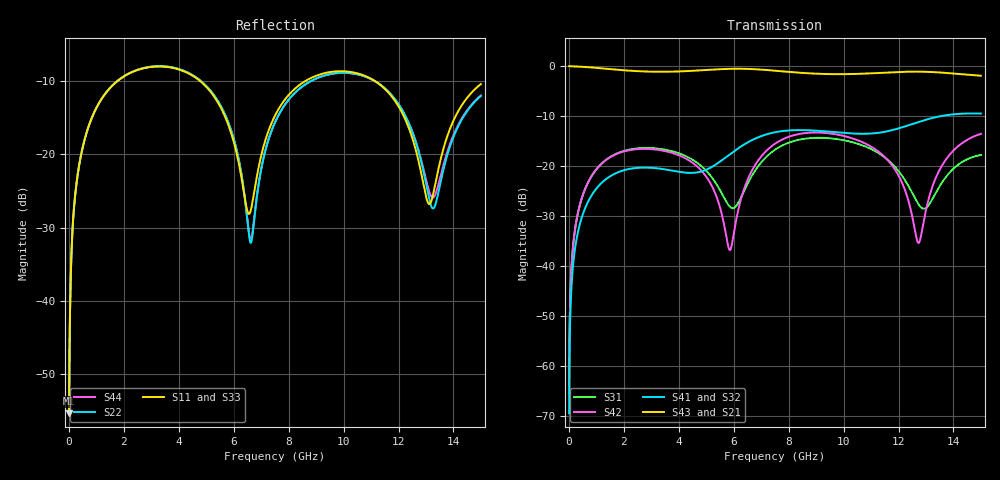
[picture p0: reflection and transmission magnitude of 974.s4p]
! Created with skrf 1.8.0 (http://scikit-rf.org).
# GHz S RI R 50.0
!freq ReS11 ImS11 ReS12 ImS12 ReS13 ImS13
! ReS14 ImS14
! ReS21 ImS21 ReS22 ImS22 ReS23 ImS23
! ReS24 ImS24
! ReS31 ImS31 ReS32 ImS32 ReS33 ImS33
! ReS34 ImS34
! ReS41 ImS41 ReS42 ImS42 ReS43 ImS43
! ReS44 ImS44
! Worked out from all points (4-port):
!   2499 points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, 5 MHz to 15 GHz, reference 50 ohm
!   strongest paths, dB at 5 MHz, 3.476 GHz, 7.19 GHz, 11.1 GHz, 15 GHz:
!     S43: 0.0, -1.1, -0.8, -1.4, -1.9
!     S21: 0.0, -1.1, -0.8, -1.4, -1.9
!     S41: -69.4, -20.6, -13.6, -13.4, -9.5
!     S32: -69.4, -20.7, -13.7, -13.5, -9.5
!     S42: -65.5, -17.0, -16.9, -16.4, -13.5
!     S31: -65.5, -16.7, -18.1, -16.8, -17.8
!   lowest |S11| = -55.3 dB at 5 MHz (marker M1), VSWR 1.00, Z = 50.1 + j0.104 ohm
!   |S11| at or under -10 dB: start of sweep to 1.779 GHz; 4.761 GHz to 8.626 GHz (3.865 GHz wide, 57.7 % of centre); 11.12 GHz to end of sweep
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0.005  0.00137 0.00104  0.9986 -0.00266  6.74e-05 0.000526  -6.55e-05 -0.000332
       0.9986 -0.00266  0.00137 0.00104  -6.55e-05 -0.000332  6.73e-05 0.000526
       6.74e-05 0.000526  -6.55e-05 -0.000332  0.00137 0.00104  0.9986 -0.00266
       -6.55e-05 -0.000332  6.73e-05 0.000526  0.9986 -0.00266  0.00137 0.00104
0.3626511  0.0221 0.0795  0.9697 -0.192  0.0102 0.0363  -0.00834 -0.0227
           0.9697 -0.192  0.0221 0.0795  -0.00833 -0.0227  0.00983 0.0364
           0.0102 0.0363  -0.00833 -0.0227  0.0221 0.0795  0.9697 -0.192
           -0.00834 -0.0227  0.00983 0.0364  0.9697 -0.192  0.0221 0.0795
1.67  0.2369 0.1905  0.6179 -0.6875  0.114 0.0648  -0.0823 -0.0169
      0.6179 -0.6875  0.2382 0.1898  -0.0822 -0.0171  0.1097 0.0697
      0.114 0.0648  -0.0822 -0.0171  0.2369 0.1904  0.6179 -0.6875
      -0.0823 -0.0169  0.1097 0.0697  0.6179 -0.6875  0.2381 0.1898
6.596499  0.0397 0.00546  -0.9348 -0.046  -0.0242 0.0705  -0.00265 0.178
          -0.9348 -0.046  0.0246 -0.00612  -0.00538 0.178  0.0338 0.076
          -0.0242 0.0705  -0.00538 0.178  0.0381 0.00632  -0.9349 -0.046
          -0.00265 0.178  0.0338 0.076  -0.9349 -0.046  0.0259 -0.00553
10.66694  0.3302 -0.1084  0.1726 0.8214  0.1286 -0.0988  0.1814 -0.107
          0.1726 0.8214  0.3309 -0.0935  0.1825 -0.1011  0.1334 -0.1124
          0.1286 -0.0988  0.1825 -0.1011  0.3307 -0.1109  0.172 0.8214
          0.1814 -0.107  0.1334 -0.1124  0.172 0.8214  0.3309 -0.0904
12.7303  0.0586 -0.068  0.8178 0.3254  -0.0375 -0.0178  0.0889 -0.262
         0.8178 0.3254  0.0627 -0.0835  0.0984 -0.2585  0.0165 -0.00417
         -0.0375 -0.0178  0.0984 -0.2585  0.0511 -0.0699  0.8175 0.3262
         0.0889 -0.262  0.0165 -0.00417  0.8175 0.3262  0.0694 -0.0803
15  0.2563 0.1562  0.6065 -0.5247  0.1186 0.0512  -0.2581 -0.2138
    0.6065 -0.5247  0.203 0.1445  -0.2502 -0.2228  0.2093 -0.0224
    0.1186 0.0512  -0.2502 -0.2228  0.252 0.1653  0.6068 -0.5235
    -0.2581 -0.2138  0.2093 -0.0224  0.6068 -0.5235  0.2086 0.1401
